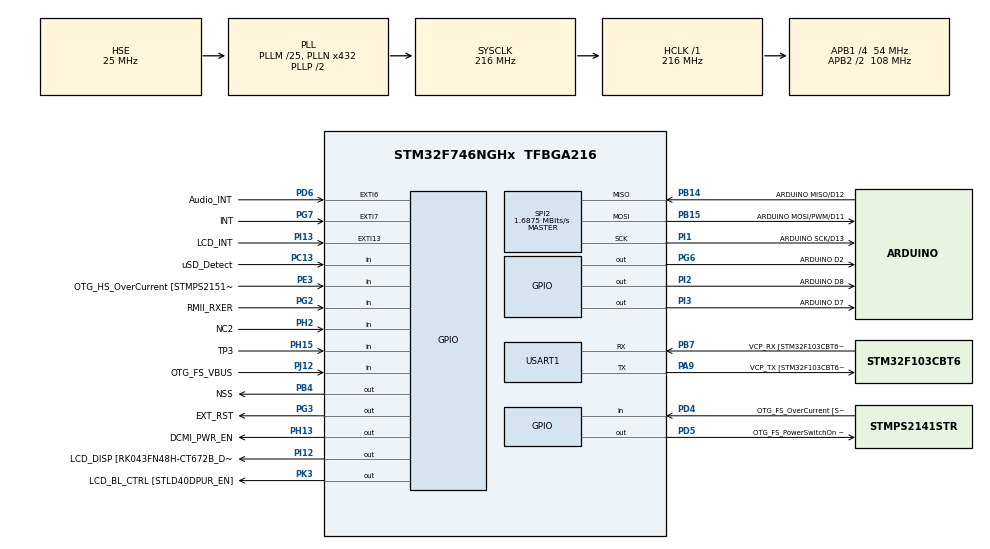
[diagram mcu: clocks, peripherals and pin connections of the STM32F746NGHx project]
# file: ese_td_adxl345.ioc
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Mcu.Family=STM32F7
Mcu.Name=STM32F746NGHx
Mcu.Package=TFBGA216
NVIC.EXTI9_5_IRQn=true\:0\:0\:false\:false\:true\:true\:true\:true
NVIC.PriorityGroup=NVIC_PRIORITYGROUP_4
PA0/WKUP.GPIO_Label=ARDUINO A0
PA0/WKUP.GPIO_Mode=GPIO_MODE_ANALOG
PA0/WKUP.GPIO_PuPd=GPIO_NOPULL
PA0/WKUP.Signal=ADCx_IN0
PA1.GPIO_Label=RMII_REF_CLK [LAN8742A-CZ-TR_REFCLK0]
PA1.Signal=ETH_REF_CLK
PA10.GPIO_Label=OTG_FS_ID
PA10.Signal=USB_OTG_FS_ID
PA11.GPIO_Label=OTG_FS_N
PA11.Signal=USB_OTG_FS_DM
PA12.GPIO_Label=OTG_FS_P
PA12.Signal=USB_OTG_FS_DP
PA13.GPIO_Label=SWDIO
PA13.Mode=Serial_Wire
PA13.Signal=SYS_JTMS-SWDIO
PA14.GPIO_Label=SWCLK
PA14.Mode=Serial_Wire
PA14.Signal=SYS_JTCK-SWCLK
PA15.GPIO_Label=ARDUINO PWM/D9
PA15.GPIO_ModeDefaultPP=GPIO_MODE_AF_PP
PA15.GPIO_PuPd=GPIO_NOPULL
PA15.GPIO_Speed=GPIO_SPEED_FREQ_LOW
PA15.Signal=S_TIM2_CH1_ETR
PA2.GPIO_Label=RMII_MDIO [LAN8742A-CZ-TR_MDIO]
PA2.Signal=ETH_MDIO
PA3.GPIO_Label=ULPI_D0 [USB3320C-EZK_D0]
PA3.Signal=USB_OTG_HS_ULPI_D0
PA4.GPIO_Label=DCMI_HSYNC
PA4.Signal=DCMI_HSYNC
PA5.GPIO_Label=ULPI_CLK [USB3320C-EZK_CLKOUT]
PA5.Signal=USB_OTG_HS_ULPI_CK
PA6.Signal=DCMI_PIXCLK
PA7.GPIO_Label=RMII_CRS_DV [LAN8742A-CZ-TR_CRS_DV]
PA7.Signal=ETH_CRS_DV
PA8.GPIO_Label=ARDUINO PWM/D10
PA8.GPIO_ModeDefaultPP=GPIO_MODE_AF_PP
PA8.GPIO_PuPd=GPIO_NOPULL
PA8.GPIO_Speed=GPIO_SPEED_FREQ_LOW
PA8.Signal=S_TIM1_CH1
PA9.GPIO_Label=VCP_TX [STM32F103CBT6_PA3]
PA9.GPIO_Mode=GPIO_MODE_AF_PP
PA9.GPIO_PuPd=GPIO_NOPULL
PA9.GPIO_Speed=GPIO_SPEED_FREQ_LOW
PA9.Mode=Asynchronous
PA9.Signal=USART1_TX
PB0.GPIO_Label=ULPI_D1 [USB3320C-EZK_D1]
PB0.Signal=USB_OTG_HS_ULPI_D1
PB1.GPIO_Label=ULPI_D2 [USB3320C-EZK_D2]
PB1.Signal=USB_OTG_HS_ULPI_D2
PB10.GPIO_Label=ULPI_D3 [USB3320C-EZK_D3]
PB10.Signal=USB_OTG_HS_ULPI_D3
PB11.GPIO_Label=ULPI_D4 [USB3320C-EZK_D4]
PB11.Signal=USB_OTG_HS_ULPI_D4
PB12.GPIO_Label=ULPI_D5 [USB3320C-EZK_D5]
PB12.Signal=USB_OTG_HS_ULPI_D5
PB13.GPIO_Label=ULPI_D6 [USB3320C-EZK_D6]
PB13.Signal=USB_OTG_HS_ULPI_D6
PB14.GPIO_Label=ARDUINO MISO/D12
PB14.GPIO_Mode=GPIO_MODE_AF_PP
PB14.GPIO_PuPd=GPIO_NOPULL
PB14.GPIO_Speed=GPIO_SPEED_FREQ_LOW
PB14.Mode=Full_Duplex_Master
PB14.Signal=SPI2_MISO
PB15.GPIO_Label=ARDUINO MOSI/PWM/D11
PB15.GPIO_Mode=GPIO_MODE_AF_PP
PB15.GPIO_PuPd=GPIO_NOPULL
PB15.GPIO_Speed=GPIO_SPEED_FREQ_LOW
PB15.Mode=Full_Duplex_Master
PB15.Signal=SPI2_MOSI
PB2.Signal=QUADSPI_CLK
PB3.GPIO_Label=SWO
PB3.Signal=SYS_JTDO-SWO
PB4.GPIO_Label=NSS
PB4.PinState=GPIO_PIN_SET
PB4.Signal=GPIO_Output
PB5.GPIO_Label=ULPI_D7 [USB3320C-EZK_D7]
PB5.Signal=USB_OTG_HS_ULPI_D7
PB6.GPIO_Label=QSPI_NCS [N25Q128A13EF840E_S]
PB6.Signal=QUADSPI_BK1_NCS
PB7.GPIO_Label=VCP_RX [STM32F103CBT6_PA2]
PB7.GPIO_Mode=GPIO_MODE_AF_PP
PB7.GPIO_PuPd=GPIO_NOPULL
PB7.GPIO_Speed=GPIO_SPEED_FREQ_LOW
PB7.Mode=Asynchronous
PB7.Signal=USART1_RX
PB8.GPIO_Label=ARDUINO SCL/D15
PB8.GPIO_Mode=GPIO_MODE_AF_OD
PB8.GPIO_PuPd=GPIO_NOPULL
PB8.GPIO_Speed=GPIO_SPEED_FREQ_LOW
PB8.Signal=I2C1_SCL
PB9.GPIO_Label=ARDUINO SDA/D14
PB9.GPIO_Mode=GPIO_MODE_AF_OD
PB9.GPIO_PuPd=GPIO_NOPULL
PB9.GPIO_Speed=GPIO_SPEED_FREQ_LOW
PB9.Signal=I2C1_SDA
PC0.GPIO_Label=ULPI_STP [USB3320C-EZK_STP]
PC0.Signal=USB_OTG_HS_ULPI_STP
PC1.GPIO_Label=RMII_MDC [LAN8742A-CZ-TR_MDC]
PC1.Signal=ETH_MDC
PC10.GPIO_Label=SDMMC_D2
PC10.Signal=SDMMC1_D2
PC11.GPIO_Label=SDMMC_D3
PC11.Signal=SDMMC1_D3
PC12.GPIO_Label=SDMMC_CK
PC12.Signal=SDMMC1_CK
PC13.GPIO_Label=uSD_Detect
PC13.Signal=GPIO_Input
PC14/OSC32_IN.GPIO_Label=RCC_OSC32_IN
PC14/OSC32_IN.Signal=RCC_OSC32_IN
PC15/OSC32_OUT.GPIO_Label=RCC_OSC32_OUT
PC15/OSC32_OUT.Signal=RCC_OSC32_OUT
PC2.GPIO_Label=ULPI_DIR [USB3320C-EZK_DIR]
PC2.Signal=USB_OTG_HS_ULPI_DIR
PC3.GPIO_Label=FMC_SDCKE0 [MT48LC4M32B2B5-6A_CKE]
PC3.Signal=FMC_SDCKE0
PC4.GPIO_Label=RMII_RXD0 [LAN8742A-CZ-TR_RXD0]
PC4.Signal=ETH_RXD0
PC5.GPIO_Label=RMII_RXD1 [LAN8742A-CZ-TR_RXD1]
PC5.Signal=ETH_RXD1
PC6.GPIO_Label=ARDUINO TX/D1
PC6.Signal=USART6_TX
PC7.GPIO_Label=ARDUINO RX/D0
PC7.Signal=USART6_RX
PC8.Signal=SDMMC1_D0
PC9.Signal=SDMMC1_D1
PD0.GPIO_Label=FMC_D2 [MT48LC4M32B2B5-6A_DQ2]
PD0.Signal=FMC_D2_DA2
PD1.GPIO_Label=FMC_D3 [MT48LC4M32B2B5-6A_DQ3]
PD1.Signal=FMC_D3_DA3
PD10.GPIO_Label=FMC_D15 [MT48LC4M32B2B5-6A_DQ15]
PD10.Signal=FMC_D15_DA15
PD11.GPIO_Label=QSPI_D0 [N25Q128A13EF840E_DQ0]
PD11.Signal=QUADSPI_BK1_IO0
PD12.GPIO_Label=QSPI_D1 [N25Q128A13EF840E_DQ1]
PD12.Signal=QUADSPI_BK1_IO1
PD13.GPIO_Label=QSPI_D3 [N25Q128A13EF840E_DQ3]
PD13.Signal=QUADSPI_BK1_IO3
PD14.GPIO_Label=FMC_D0 [MT48LC4M32B2B5-6A_DQ0]
PD14.Signal=FMC_D0_DA0
PD15.GPIO_Label=FMC_D1 [MT48LC4M32B2B5-6A_DQ1]
PD15.Signal=FMC_D1_DA1
PD2.GPIO_Label=SDMMC_D0
PD2.Signal=SDMMC1_CMD
PD3.GPIO_Label=DCMI_D5
PD3.Signal=DCMI_D5
PD4.GPIO_Label=OTG_FS_OverCurrent [STMPS2141STR_Fault]
PD4.Signal=GPIO_Input
PD5.GPIO_Label=OTG_FS_PowerSwitchOn [STMPS2141STR_EN]
PD5.PinState=GPIO_PIN_SET
PD5.Signal=GPIO_Output
PD6.GPIO_Label=Audio_INT
PD6.GPIO_ModeDefaultEXTI=GPIO_MODE_EVT_RISING
PD6.Signal=GPXTI6
PD7.GPIO_Label=SPDIF_RX0 [74LVC1G04SE_4]
PD7.Signal=SPDIFRX_IN0
PD8.GPIO_Label=FMC_D13 [MT48LC4M32B2B5-6A_DQ13]
PD8.Signal=FMC_D13_DA13
PD9.GPIO_Label=FMC_D14 [MT48LC4M32B2B5-6A_DQ14]
PD9.Signal=FMC_D14_DA14
PE0.GPIO_Label=FMC_NBL0 [MT48LC4M32B2B5-6A_DQM0]
PE0.Signal=FMC_NBL0
PE1.GPIO_Label=FMC_NBL1 [MT48LC4M32B2B5-6A_DQM1]
PE1.Signal=FMC_NBL1
PE10.GPIO_Label=FMC_D7 [MT48LC4M32B2B5-6A_DQ7]
PE10.Signal=FMC_D7_DA7
PE11.GPIO_Label=FMC_D8 [MT48LC4M32B2B5-6A_DQ8]
PE11.Signal=FMC_D8_DA8
PE12.GPIO_Label=FMC_D9 [MT48LC4M32B2B5-6A_DQ9]
PE12.Signal=FMC_D9_DA9
PE13.GPIO_Label=FMC_D10 [MT48LC4M32B2B5-6A_DQ10]
PE13.Signal=FMC_D10_DA10
PE14.GPIO_Label=FMC_D11 [MT48LC4M32B2B5-6A_DQ11]
PE14.Signal=FMC_D11_DA11
PE15.GPIO_Label=FMC_D12 [MT48LC4M32B2B5-6A_DQ12]
PE15.Signal=FMC_D12_DA12
PE2.GPIO_Label=QSPI_D2 [N25Q128A13EF840E_DQ2]
PE2.Signal=QUADSPI_BK1_IO2
PE3.GPIO_Label=OTG_HS_OverCurrent [STMPS2151STR_FAULT]
PE3.Signal=GPIO_Input
PE4.GPIO_Label=LCD_B0 [RK043FN48H-CT672B_B0]
PE4.Signal=LTDC_B0
PE5.GPIO_Label=DCMI_D6
PE5.Signal=DCMI_D6
PE6.GPIO_Label=DCMI_D7
PE6.Signal=DCMI_D7
PE7.GPIO_Label=FMC_D4 [MT48LC4M32B2B5-6A_DQ4]
PE7.Signal=FMC_D4_DA4
PE8.GPIO_Label=FMC_D5 [MT48LC4M32B2B5-6A_DQ5]
PE8.Signal=FMC_D5_DA5
PE9.GPIO_Label=FMC_D6 [MT48LC4M32B2B5-6A_DQ6]
PE9.Signal=FMC_D6_DA6
PF0.GPIO_Label=FMC_A0 [MT48LC4M32B2B5-6A_A0]
PF0.Signal=FMC_A0
PF1.GPIO_Label=FMC_A1 [MT48LC4M32B2B5-6A_A1]
PF1.Signal=FMC_A1
PF10.GPIO_Label=ARDUINO A1
PF10.GPIO_Mode=GPIO_MODE_ANALOG
PF10.GPIO_PuPd=GPIO_NOPULL
PF10.Signal=ADC3_IN8
PF11.GPIO_Label=FMC_SDNRAS [MT48LC4M32B2B5-6A_RAS]
PF11.Signal=FMC_SDNRAS
PF12.GPIO_Label=FMC_A6 [MT48LC4M32B2B5-6A_A6]
PF12.Signal=FMC_A6
PF13.GPIO_Label=FMC_A7 [MT48LC4M32B2B5-6A_A7]
PF13.Signal=FMC_A7
PF14.GPIO_Label=FMC_A8 [MT48LC4M32B2B5-6A_A8]
PF14.Signal=FMC_A8
PF15.GPIO_Label=FMC_A9 [MT48LC4M32B2B5-6A_A9]
PF15.Signal=FMC_A9
PF2.GPIO_Label=FMC_A2 [MT48LC4M32B2B5-6A_A2]
PF2.Signal=FMC_A2
PF3.GPIO_Label=FMC_A3 [MT48LC4M32B2B5-6A_A3]
PF3.Signal=FMC_A3
PF4.GPIO_Label=FMC_A4 [MT48LC4M32B2B5-6A_A4]
PF4.Signal=FMC_A4
PF5.GPIO_Label=FMC_A5 [MT48LC4M32B2B5-6A_A5]
PF5.Signal=FMC_A5
PF6.GPIO_Label=ARDUINO A5
PF6.GPIO_Mode=GPIO_MODE_ANALOG
PF6.GPIO_PuPd=GPIO_NOPULL
PF6.Signal=ADC3_IN4
PF7.GPIO_Label=ARDUINO A4
PF7.GPIO_Mode=GPIO_MODE_ANALOG
PF7.GPIO_PuPd=GPIO_NOPULL
PF7.Signal=ADC3_IN5
PF8.GPIO_Label=ARDUINO A3
PF8.GPIO_Mode=GPIO_MODE_ANALOG
PF8.GPIO_PuPd=GPIO_NOPULL
PF8.Signal=ADC3_IN6
PF9.GPIO_Label=ARDUINO A2
PF9.GPIO_Mode=GPIO_MODE_ANALOG
PF9.GPIO_PuPd=GPIO_NOPULL
PF9.Signal=ADC3_IN7
PG0.GPIO_Label=FMC_A10 [MT48LC4M32B2B5-6A_A10]
PG0.Signal=FMC_A10
PG1.GPIO_Label=FMC_A11 [MT48LC4M32B2B5-6A_A11]
PG1.Signal=FMC_A11
PG10.GPIO_Label=SAI2_SDB [WM8994ECS/R_ADCDAT1]
PG10.Signal=SAI2_SD_B
PG11.GPIO_Label=RMII_TX_EN [LAN8742A-CZ-TR_TXEN]
PG11.Signal=ETH_TX_EN
PG12.GPIO_Label=LCD_B4 [RK043FN48H-CT672B_B4]
PG12.Signal=LTDC_B4
PG13.GPIO_Label=RMII_TXD0 [LAN8742A-CZ-TR_TXD0]
PG13.Signal=ETH_TXD0
PG14.GPIO_Label=RMII_TXD1 [LAN8742A-CZ-TR_TXD1]
PG14.Signal=ETH_TXD1
PG15.GPIO_Label=FMC_SDNCAS [MT48LC4M32B2B5-6A_CAS]
PG15.Signal=FMC_SDNCAS
PG2.GPIO_Label=RMII_RXER
PG2.Signal=GPIO_Input
PG3.GPIO_Label=EXT_RST
PG3.Signal=GPIO_Output
PG4.GPIO_Label=FMC_BA0 [MT48LC4M32B2B5-6A_BA0]
PG4.Signal=FMC_A14_BA0
PG5.GPIO_Label=FMC_BA1 [MT48LC4M32B2B5-6A_BA1]
PG5.Signal=FMC_A15_BA1
PG6.GPIO_Label=ARDUINO D2
PG6.Signal=GPIO_Output
PG7.GPIO_Label=INT
PG7.Signal=GPXTI7
PG8.GPIO_Label=FMC_SDCLK [MT48LC4M32B2B5-6A_CLK]
PG8.Signal=FMC_SDCLK
PG9.GPIO_Label=DCMI_VSYNC
PG9.Signal=DCMI_VSYNC
PH0/OSC_IN.GPIO_Label=OSC_25M [NZ2520SB-25.00M_OUT]
PH0/OSC_IN.Mode=HSE-External-Oscillator
PH0/OSC_IN.Signal=RCC_OSC_IN
PH1/OSC_OUT.Mode=HSE-External-Oscillator
PH1/OSC_OUT.Signal=RCC_OSC_OUT
PH10.GPIO_Label=DCMI_D1
PH10.Signal=DCMI_D1
PH11.GPIO_Label=DCMI_D2
PH11.Signal=DCMI_D2
PH12.GPIO_Label=DCMI_D3
PH12.Signal=DCMI_D3
PH13.GPIO_Label=DCMI_PWR_EN
PH13.Signal=GPIO_Output
PH14.GPIO_Label=DCMI_D4
PH14.Signal=DCMI_D4
PH15.GPIO_Label=TP3
PH15.Signal=GPIO_Input
PH2.GPIO_Label=NC2
PH2.Signal=GPIO_Input
PH3.GPIO_Label=FMC_SDNE0 [MT48LC4M32B2B5-6A_CS]
PH3.Signal=FMC_SDNE0
PH4.GPIO_Label=ULPI_NXT [USB3320C-EZK_NXT]
PH4.Signal=USB_OTG_HS_ULPI_NXT
PH5.GPIO_Label=FMC_SDNME [MT48LC4M32B2B5-6A_WE]
PH5.Signal=FMC_SDNWE
PH6.GPIO_Label=ARDUINO PWM/D6
PH6.Signal=S_TIM12_CH1
PH7.GPIO_Label=LCD_SCL [RK043FN48H-CT672B_SCL]
PH7.Signal=I2C3_SCL
PH8.GPIO_Label=LCD_SDA [RK043FN48H-CT672B_SDA]
PH8.Signal=I2C3_SDA
PH9.GPIO_Label=DCMI_D0
PH9.Signal=DCMI_D0
PI0.GPIO_Label=ARDUINO PWM/CS/D5
PI0.GPIO_ModeDefaultPP=GPIO_MODE_AF_PP
PI0.GPIO_PuPd=GPIO_NOPULL
PI0.GPIO_Speed=GPIO_SPEED_FREQ_LOW
PI0.Signal=S_TIM5_CH4
PI1.GPIO_Label=ARDUINO SCK/D13
PI1.GPIO_Mode=GPIO_MODE_AF_PP
PI1.GPIO_PuPd=GPIO_NOPULL
PI1.GPIO_Speed=GPIO_SPEED_FREQ_LOW
PI1.Mode=Full_Duplex_Master
PI1.Signal=SPI2_SCK
PI10.GPIO_Label=LCD_HSYNC [RK043FN48H-CT672B_HSYNC]
PI10.Signal=LTDC_HSYNC
PI12.GPIO_Label=LCD_DISP [RK043FN48H-CT672B_DISP] 
PI12.Signal=GPIO_Output
PI13.GPIO_Label=LCD_INT
PI13.GPIO_ModeDefaultEXTI=GPIO_MODE_EVT_RISING
PI13.Signal=GPXTI13
PI14.GPIO_Label=LCD_CLK [RK043FN48H-CT672B_CLK]
PI14.Signal=LTDC_CLK
PI15.GPIO_Label=LCD_R0 [RK043FN48H-CT672B_R0]
PI15.Signal=LTDC_R0
PI2.GPIO_Label=ARDUINO D8
PI2.Signal=GPIO_Output
PI3.GPIO_Label=ARDUINO D7
PI3.Signal=GPIO_Output
PI4.GPIO_Label=SAI2_MCLKA [WM8994ECS/R_MCLK1]
PI4.Signal=SAI2_MCLK_A
PI5.GPIO_Label=SAI2_SCKA [WM8994ECS/R_BCLK1]
PI5.Signal=SAI2_SCK_A
PI6.GPIO_Label=SAI2_SDA [WM8994ECS/R_DACDAT1]
PI6.Signal=SAI2_SD_A
PI7.GPIO_Label=SAI2_FSA [WM8994ECS/R_LRCLK1]
PI7.Signal=SAI2_FS_A
PI8.GPIO_Label=NC1 [TP2]
PI8.Signal=RTC_TS
PI9.GPIO_Label=LCD_VSYNC [RK043FN48H-CT672B_VSYNC]
PI9.Signal=LTDC_VSYNC
PJ0.GPIO_Label=LCD_R1 [RK043FN48H-CT672B_R1]
PJ0.Signal=LTDC_R1
PJ1.GPIO_Label=LCD_R2 [RK043FN48H-CT672B_R2]
PJ1.Signal=LTDC_R2
PJ10.GPIO_Label=LCD_G3 [RK043FN48H-CT672B_G3]
PJ10.Signal=LTDC_G3
PJ11.GPIO_Label=LCD_G4 [RK043FN48H-CT672B_G4]
PJ11.Signal=LTDC_G4
PJ12.GPIO_Label=OTG_FS_VBUS
PJ12.Signal=GPIO_Input
PJ13.GPIO_Label=LCD_B1 [RK043FN48H-CT672B_B1]
PJ13.Signal=LTDC_B1
PJ14.GPIO_Label=LCD_B2 [RK043FN48H-CT672B_B2]
PJ14.Signal=LTDC_B2
PJ15.GPIO_Label=LCD_B3 [RK043FN48H-CT672B_B3]
PJ15.Signal=LTDC_B3
PJ2.GPIO_Label=LCD_R3 [RK043FN48H-CT672B_R3]
PJ2.Signal=LTDC_R3
PJ3.GPIO_Label=LCD_R4 [RK043FN48H-CT672B_R4]
PJ3.Signal=LTDC_R4
PJ4.GPIO_Label=LCD_R5 [RK043FN48H-CT672B_R5]
PJ4.Signal=LTDC_R5
PJ5.GPIO_Label=LCD_R6 [RK043FN48H-CT672B_R6]
PJ5.Signal=LTDC_R6
PJ6.GPIO_Label=LCD_R7 [RK043FN48H-CT672B_R7]
PJ6.Signal=LTDC_R7
PJ7.GPIO_Label=LCD_G0 [RK043FN48H-CT672B_G0]
PJ7.Signal=LTDC_G0
PJ8.GPIO_Label=LCD_G1 [RK043FN48H-CT672B_G1]
PJ8.Signal=LTDC_G1
PJ9.GPIO_Label=LCD_G2 [RK043FN48H-CT672B_G2]
PJ9.Signal=LTDC_G2
PK0.GPIO_Label=LCD_G5 [RK043FN48H-CT672B_G5]
PK0.Signal=LTDC_G5
PK1.GPIO_Label=LCD_G6 [RK043FN48H-CT672B_G6]
PK1.Signal=LTDC_G6
PK2.GPIO_Label=LCD_G7 [RK043FN48H-CT672B_G7]
PK2.Signal=LTDC_G7
PK3.GPIO_Label=LCD_BL_CTRL [STLD40DPUR_EN]
PK3.Signal=GPIO_Output
PK4.GPIO_Label=LCD_B5 [RK043FN48H-CT672B_B5]
PK4.Signal=LTDC_B5
PK5.GPIO_Label=LCD_B6 [RK043FN48H-CT672B_B6]
PK5.Signal=LTDC_B6
PK6.GPIO_Label=LCD_B7 [RK043FN48H-CT672B_B7]
PK6.Signal=LTDC_B7
PK7.GPIO_Label=LCD_DE [RK043FN48H-CT672B_DE]
PK7.Signal=LTDC_DE
ProjectManager.HeapSize=0x200
ProjectManager.StackSize=0x400
ProjectManager.TargetToolchain=STM32CubeIDE
RCC.AHBFreq_Value=216000000
RCC.APB1CLKDivider=RCC_HCLK_DIV4
RCC.APB1Freq_Value=54000000
RCC.APB1TimFreq_Value=108000000
RCC.APB2CLKDivider=RCC_HCLK_DIV2
RCC.APB2Freq_Value=108000000
RCC.APB2TimFreq_Value=216000000
RCC.CortexFreq_Value=216000000
RCC.HCLKFreq_Value=216000000
RCC.HSE_VALUE=25000000
RCC.HSI_VALUE=16000000
RCC.LSE_VALUE=32768
RCC.PLLM=25
RCC.PLLN=432
RCC.PLLSourceVirtual=RCC_PLLSOURCE_HSE
RCC.SYSCLKFreq_VALUE=216000000
RCC.SYSCLKSource=RCC_SYSCLKSOURCE_PLLCLK
RCC.USBFreq_Value=216000000
RCC.VCOOutputFreq_Value=432000000
SH.ADCx_IN0.0=ADC3_IN0
SH.FMC_A0.0=FMC_A0
SH.FMC_A1.0=FMC_A1
SH.FMC_A10.0=FMC_A10
SH.FMC_A11.0=FMC_A11
SH.FMC_A14_BA0.0=FMC_BA0
SH.FMC_A15_BA1.0=FMC_BA1
SH.FMC_A2.0=FMC_A2
SH.FMC_A3.0=FMC_A3
SH.FMC_A4.0=FMC_A4
SH.FMC_A5.0=FMC_A5
SH.FMC_A6.0=FMC_A6
SH.FMC_A7.0=FMC_A7
SH.FMC_A8.0=FMC_A8
SH.FMC_A9.0=FMC_A9
SH.FMC_D0_DA0.0=FMC_D0
SH.FMC_D10_DA10.0=FMC_D10
SH.FMC_D11_DA11.0=FMC_D11
SH.FMC_D12_DA12.0=FMC_D12
SH.FMC_D13_DA13.0=FMC_D13
SH.FMC_D14_DA14.0=FMC_D14
SH.FMC_D15_DA15.0=FMC_D15
SH.FMC_D1_DA1.0=FMC_D1
SH.FMC_D2_DA2.0=FMC_D2
SH.FMC_D3_DA3.0=FMC_D3
SH.FMC_D4_DA4.0=FMC_D4
SH.FMC_D5_DA5.0=FMC_D5
SH.FMC_D6_DA6.0=FMC_D6
SH.FMC_D7_DA7.0=FMC_D7
SH.FMC_D8_DA8.0=FMC_D8
SH.FMC_D9_DA9.0=FMC_D9
SH.FMC_NBL0.0=FMC_NBL0
SH.FMC_NBL1.0=FMC_NBL1
SH.FMC_SDCLK.0=FMC_SDCLK
SH.FMC_SDNCAS.0=FMC_SDNCAS
SH.FMC_SDNRAS.0=FMC_SDNRAS
SH.FMC_SDNWE.0=FMC_SDNWE
SH.S_TIM12_CH1.0=TIM12_CH1
SH.S_TIM1_CH1.0=TIM1_CH1
SH.S_TIM2_CH1_ETR.0=TIM2_CH1
SH.S_TIM5_CH4.0=TIM5_CH4
SPI2.BaudRatePrescaler=SPI_BAUDRATEPRESCALER_32
SPI2.CLKPhase=SPI_PHASE_2EDGE
SPI2.CLKPolarity=SPI_POLARITY_HIGH
SPI2.CalculateBaudRate=1.6875 MBits/s
SPI2.DataSize=SPI_DATASIZE_8BIT
SPI2.Direction=SPI_DIRECTION_2LINES
SPI2.Mode=SPI_MODE_MASTER
SPI2.VirtualType=VM_MASTER
USART1.VirtualMode-Asynchronous=VM_ASYNC
board=STM32F746G-DISCO

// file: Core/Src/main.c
/* USER CODE BEGIN Header */
/**
 ******************************************************************************
 * @file           : main.c
 * @brief          : Main program body
 ******************************************************************************
 * @attention
 *
 * Copyright (c) 2022 STMicroelectronics.
 * All rights reserved.
 *
 * This software is licensed under terms that can be found in the LICENSE file
 * in the root directory of this software component.
 * If no LICENSE file comes with this software, it is provided AS-IS.
 *
 ******************************************************************************
 */
/* USER CODE END Header */
#include "main.h"
#include "spi.h"
#include "usart.h"
#include "gpio.h"

/* USER CODE BEGIN Includes */
#include "stdio.h"
#include "drv_adxl345.h"
/* USER CODE END Includes */

/* USER CODE BEGIN PV */
h_adxl345_t h_adxl345;
//on crée uns instance de la strcuture h_adxl345_t

/* USER CODE END PV */

void SystemClock_Config(void);
/* USER CODE BEGIN PFP */
void process_acceleration(uint32_t period, float acc_x, float acc_y, float acc_z);
/* USER CODE END PFP */

/* USER CODE BEGIN 0 */
int __io_putchar(int chr)
{
	HAL_UART_Transmit(&huart1, (uint8_t*)&chr, 1, HAL_MAX_DELAY);
	return chr;
}

//interruption dans stm32 it on récupère
//la fonction de Callback qui nous permet de mette ce qui doit être fait dans l'interruption
//dans le main !
void HAL_GPIO_EXTI_Callback(uint16_t GPIO_Pin)
{
	if(GPIO_Pin==INT_Pin){
		adxl345_irq_cb(&h_adxl345);
	}
}

int spi_transmit(uint8_t address, uint8_t *p_data, uint16_t size){
	// Reading the DEVID, it should be 0xE5
		HAL_GPIO_WritePin(NSS_GPIO_Port, NSS_Pin, GPIO_PIN_RESET);
		HAL_SPI_Transmit(&hspi2, &address, 1, HAL_MAX_DELAY);
		HAL_SPI_Transmit(&hspi2, p_data, size, HAL_MAX_DELAY);
		HAL_GPIO_WritePin(NSS_GPIO_Port, NSS_Pin, GPIO_PIN_SET);
}

int spi_receive(uint8_t address, uint8_t *p_data, uint16_t size){
	// Reading the DEVID, it should be 0xE5
		HAL_GPIO_WritePin(NSS_GPIO_Port, NSS_Pin, GPIO_PIN_RESET);
		HAL_SPI_Transmit(&hspi2, &address, 1, HAL_MAX_DELAY);
		HAL_SPI_Receive(&hspi2, p_data, size, HAL_MAX_DELAY);
		HAL_GPIO_WritePin(NSS_GPIO_Port, NSS_Pin, GPIO_PIN_SET);
}

/* USER CODE END 0 */

int main(void)
{

	/* MCU Configuration--------------------------------------------------------*/

	/* Reset of all peripherals, Initializes the Flash interface and the Systick. */
	HAL_Init();

	/* Configure the system clock */
	SystemClock_Config();

	/* Initialize all configured peripherals */
	MX_GPIO_Init();
	MX_SPI2_Init();
	MX_USART1_UART_Init();
	/* USER CODE BEGIN 2 */
	printf("\r\n===== ADXL345 =====\r\n");
	printf("Connecter VCC sur le 5V et GND sur GND\r\n");
	printf("CS sur D3, SDO sur D12, SDA sur D11, SCL sur D13, INT1 sur D4\r\n");

	//on met des valeurs dans la structure
	h_adxl345.adxl345_rate=RATE_100_HZ;
	h_adxl345.adxl345_range=RANGE_2G;
	h_adxl345.adxl345_serial_drv.receive=spi_receive;
	//fonction sans les parenthèses = pointeur de fonction et nous donne l'adresse de la première instruction
	h_adxl345.adxl345_serial_drv.transmit=spi_transmit;

//	Que met-on dans la structure
	//	Fréquence de mesure (data rate)
	//	Range de mesure
	//	driver SPI

	//	x, y et z
	//	données disponible (data available)
	//	Skipped data
	//	DEV ID (11100101 valeur dans la datasheet)

//	le _t signifie pour ST toujours une structure

	//on appelle init en mettant en paramètre un pointeur de la structure
	adxl345_init(&h_adxl345);
	adxl345_start(&h_adxl345);

	adxl345_read_acceleration(&h_adxl345);

	while(1){
		//permet de créer une structure nous même
		if(adxl1345_data_available(&h_adxl345)){
			adxl1345_read_acceleration(&h_adxl345);

			float x= adxl345_get_x_acceleration(&h_adxl345);
			float y= adxl345_get_y_acceleration(&h_adxl345);
			float z= adxl345_get_z_acceleration(&h_adxl345);
			process_acceleration(100,x, y, z);
		}

	}

#if 0
	uint8_t receive_buffer = 0;
	uint8_t transmit_buffer = 0x80;

	// Reading the DEVID, it should be 0xE5
	HAL_GPIO_WritePin(NSS_GPIO_Port, NSS_Pin, GPIO_PIN_RESET);
	HAL_SPI_Transmit(&hspi2, &transmit_buffer, 1, HAL_MAX_DELAY);
	HAL_SPI_Receive(&hspi2, &receive_buffer, 1, HAL_MAX_DELAY);
	HAL_GPIO_WritePin(NSS_GPIO_Port, NSS_Pin, GPIO_PIN_SET);

	printf("DEVID = 0x%02X\r\n", receive_buffer);
	if (receive_buffer != 0xE5)
	{
		Error_Handler();
	}

	// Write '1' to the DATA_READY bit in the INT_ENABLE register
	// Generate an interrupt when a new data is ready
	HAL_GPIO_WritePin(NSS_GPIO_Port, NSS_Pin, GPIO_PIN_RESET);
	transmit_buffer = 0x2E;
	HAL_SPI_Transmit(&hspi2, &transmit_buffer, 1, HAL_MAX_DELAY);
	transmit_buffer = 0x80;
	HAL_SPI_Transmit(&hspi2, &transmit_buffer, 1, HAL_MAX_DELAY);
	HAL_GPIO_WritePin(NSS_GPIO_Port, NSS_Pin, GPIO_PIN_SET);

	// Write '1' to the Measure bit in POWER_CTL register
	HAL_GPIO_WritePin(NSS_GPIO_Port, NSS_Pin, GPIO_PIN_RESET);
	transmit_buffer = 0x2D;
	HAL_SPI_Transmit(&hspi2, &transmit_buffer, 1, HAL_MAX_DELAY);
	transmit_buffer = 0x08;
	HAL_SPI_Transmit(&hspi2, &transmit_buffer, 1, HAL_MAX_DELAY);
	HAL_GPIO_WritePin(NSS_GPIO_Port, NSS_Pin, GPIO_PIN_SET);

	uint8_t buffer[6];
	int16_t x_int;
	int16_t y_int;
	int16_t z_int;

	float x, y, z;
	/* USER CODE END 2 */

	/* Infinite loop */
	/* USER CODE BEGIN WHILE */
	while (1)
	{
		// Wait the ADXL345 to finish its measure
		while(HAL_GPIO_ReadPin(INT_GPIO_Port, INT_Pin) == GPIO_PIN_RESET);

		// Reads registers DATAX0 to DATAZ1
		HAL_GPIO_WritePin(NSS_GPIO_Port, NSS_Pin, GPIO_PIN_RESET);
		transmit_buffer = 0x80 + 0x40 + 0x32;
		HAL_SPI_Transmit(&hspi2, &transmit_buffer, 1, HAL_MAX_DELAY);
		HAL_SPI_Receive(&hspi2, buffer, 6, HAL_MAX_DELAY);
		HAL_GPIO_WritePin(NSS_GPIO_Port, NSS_Pin, GPIO_PIN_SET);

		x_int = buffer[0] + (buffer[1] << 8);
		y_int = buffer[2] + (buffer[3] << 8);
		z_int = buffer[4] + (buffer[5] << 8);

		x = (float) x_int / 256.0;
		y = (float) y_int / 256.0;
		z = (float) z_int / 256.0;

		process_acceleration(100, (float)x, (float)y, (float)z);
		/* USER CODE END WHILE */

		/* USER CODE BEGIN 3 */
	}
#endif
	/* USER CODE END 3 */
}

void SystemClock_Config(void)
{
	RCC_OscInitTypeDef RCC_OscInitStruct = {0};
	RCC_ClkInitTypeDef RCC_ClkInitStruct = {0};

	/** Configure the main internal regulator output voltage
	 */
	__HAL_RCC_PWR_CLK_ENABLE();
	__HAL_PWR_VOLTAGESCALING_CONFIG(PWR_REGULATOR_VOLTAGE_SCALE1);

	/** Initializes the RCC Oscillators according to the specified parameters
	 * in the RCC_OscInitTypeDef structure.
	 */
	RCC_OscInitStruct.OscillatorType = RCC_OSCILLATORTYPE_HSE;
	RCC_OscInitStruct.HSEState = RCC_HSE_ON;
	RCC_OscInitStruct.PLL.PLLState = RCC_PLL_ON;
	RCC_OscInitStruct.PLL.PLLSource = RCC_PLLSOURCE_HSE;
	RCC_OscInitStruct.PLL.PLLM = 25;
	RCC_OscInitStruct.PLL.PLLN = 432;
	RCC_OscInitStruct.PLL.PLLP = RCC_PLLP_DIV2;
	RCC_OscInitStruct.PLL.PLLQ = 2;
	if (HAL_RCC_OscConfig(&RCC_OscInitStruct) != HAL_OK)
	{
		Error_Handler();
	}

	/** Activate the Over-Drive mode
	 */
	if (HAL_PWREx_EnableOverDrive() != HAL_OK)
	{
		Error_Handler();
	}

	/** Initializes the CPU, AHB and APB buses clocks
	 */
	RCC_ClkInitStruct.ClockType = RCC_CLOCKTYPE_HCLK|RCC_CLOCKTYPE_SYSCLK
			|RCC_CLOCKTYPE_PCLK1|RCC_CLOCKTYPE_PCLK2;
	RCC_ClkInitStruct.SYSCLKSource = RCC_SYSCLKSOURCE_PLLCLK;
	RCC_ClkInitStruct.AHBCLKDivider = RCC_SYSCLK_DIV1;
	RCC_ClkInitStruct.APB1CLKDivider = RCC_HCLK_DIV4;
	RCC_ClkInitStruct.APB2CLKDivider = RCC_HCLK_DIV2;

	if (HAL_RCC_ClockConfig(&RCC_ClkInitStruct, FLASH_LATENCY_7) != HAL_OK)
	{
		Error_Handler();
	}
}

/* USER CODE BEGIN 4 */
void process_acceleration(uint32_t period, float acc_x, float acc_y, float acc_z)
{
	static uint32_t tick_last = 0;
	static uint32_t counter = 0;
	static float acc_x_average = 0.0f;
	static float acc_y_average = 0.0f;
	static float acc_z_average = 0.0f;
	uint32_t tick = HAL_GetTick();

	acc_x_average += acc_x;
	acc_y_average += acc_y;
	acc_z_average += acc_z;
	counter++;

	if ((tick - tick_last) >= period)
	{
		acc_x_average /= counter;
		acc_y_average /= counter;
		acc_z_average /= counter;

		printf("x=%1.2f, y=%1.2f, z=%1.2f\r", acc_x_average, acc_y_average, acc_z_average);
		fflush(stdout);

		acc_x_average = 0.0f;
		acc_y_average = 0.0f;
		acc_z_average = 0.0f;
		counter = 0;

		tick_last = tick;
	}

}
/* USER CODE END 4 */

void Error_Handler(void)
{
	__disable_irq();
	while (1)
	{
	}
}
